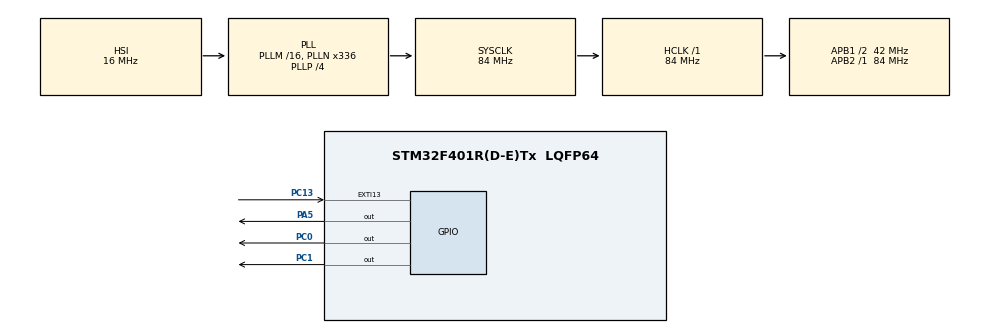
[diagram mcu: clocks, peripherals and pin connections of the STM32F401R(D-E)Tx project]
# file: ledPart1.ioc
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Mcu.Family=STM32F4
Mcu.Name=STM32F401R(D-E)Tx
Mcu.Package=LQFP64
NVIC.EXTI15_10_IRQn=true\:5\:0\:true\:false\:true\:true\:true
NVIC.PriorityGroup=NVIC_PRIORITYGROUP_4
NVIC.TIM5_IRQn=true\:15\:0\:false\:false\:true\:false\:true
NVIC.TimeBase=TIM5_IRQn
NVIC.TimeBaseIP=TIM5
PA13.GPIO_Label=TMS
PA13.Signal=SYS_JTMS-SWDIO
PA14.GPIO_Label=TCK
PA14.Signal=SYS_JTCK-SWCLK
PA2.GPIO_Label=USART_TX
PA2.GPIO_Mode=GPIO_MODE_AF_PP
PA2.GPIO_PuPd=GPIO_NOPULL
PA2.GPIO_Speed=GPIO_SPEED_FREQ_LOW
PA2.Signal=USART2_TX
PA3.GPIO_Label=USART_RX
PA3.GPIO_Mode=GPIO_MODE_AF_PP
PA3.GPIO_PuPd=GPIO_NOPULL
PA3.GPIO_Speed=GPIO_SPEED_FREQ_LOW
PA3.Signal=USART2_RX
PA5.Signal=GPIO_Output
PB3.GPIO_Label=SWO
PB3.Signal=SYS_JTDO-SWO
PC0.Signal=GPIO_Output
PC1.Signal=GPIO_Output
PC13-ANTI_TAMP.Signal=GPXTI13
PC14-OSC32_IN.Signal=RCC_OSC32_IN
PC15-OSC32_OUT.Signal=RCC_OSC32_OUT
PH0\ -\ OSC_IN.Signal=RCC_OSC_IN
PH1\ -\ OSC_OUT.Signal=RCC_OSC_OUT
ProjectManager.HeapSize=0x200
ProjectManager.StackSize=0x400
ProjectManager.TargetToolchain=STM32CubeIDE
RCC.AHBFreq_Value=84000000
RCC.APB1CLKDivider=RCC_HCLK_DIV2
RCC.APB1Freq_Value=42000000
RCC.APB1TimFreq_Value=84000000
RCC.APB2Freq_Value=84000000
RCC.APB2TimFreq_Value=84000000
RCC.CortexFreq_Value=84000000
RCC.HCLKFreq_Value=84000000
RCC.HSE_VALUE=8000000
RCC.HSI_VALUE=16000000
RCC.LSE_VALUE=32768
RCC.PLLN=336
RCC.PLLP=RCC_PLLP_DIV4
RCC.PLLQ=7
RCC.SYSCLKFreq_VALUE=84000000
RCC.SYSCLKSource=RCC_SYSCLKSOURCE_PLLCLK
RCC.VCOOutputFreq_Value=336000000
VP_SYS_VS_tim5.Mode=TIM5
board=NUCLEO-F401RE

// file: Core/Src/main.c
/* USER CODE BEGIN Header */
/**
 ******************************************************************************
 * @file           : main.c
 * @brief          : Main program body
 ******************************************************************************
 * @attention
 *
 * <h2><center>&copy; Copyright (c) 2021 STMicroelectronics.
 * All rights reserved.</center></h2>
 *
 * This software component is licensed by ST under BSD 3-Clause license,
 * the "License"; You may not use this file except in compliance with the
 * License. You may obtain a copy of the License at:
 *                        opensource.org/licenses/BSD-3-Clause
 *
 ******************************************************************************
 */
/* USER CODE END Header */
#include "main.h"

/* USER CODE BEGIN Includes */
#include <stdio.h>
#include "FreeRTOS.h"
#include "task.h"
/* USER CODE END Includes */

/* USER CODE BEGIN PM */
#define DWT_CTRL 			(*(volatile uint32_t*) 0xE0001000)
/* USER CODE END PM */

/* USER CODE BEGIN PV */
TaskHandle_t redTask_Handle;
TaskHandle_t yellowTask_Handle;
TaskHandle_t greenTask_Handle;
TaskHandle_t nextTask_Handle;
/* USER CODE END PV */

void SystemClock_Config(void);
static void MX_GPIO_Init(void);
/* USER CODE BEGIN PFP */
static void redTask_Handler(void *para);
static void yellowTask_Handler(void *para);
static void greenTask_Handler(void *para);
void button_interrupt_handler(void);
/* USER CODE END PFP */

int main(void)
{
  /* USER CODE BEGIN 1 */
	/*TaskHandle_t redTask_Handle;
	 TaskHandle_t yellowTask_Handle;
	 TaskHandle_t greenTask_Handle;
	 TaskHandle_t butTask_Handle;*/
	BaseType_t stat;
	DWT_CTRL |= (0 << 1);
  /* USER CODE END 1 */

  /* MCU Configuration--------------------------------------------------------*/

  /* Reset of all peripherals, Initializes the Flash interface and the Systick. */
  HAL_Init();

  /* Configure the system clock */
  SystemClock_Config();

  /* Initialize all configured peripherals */
  MX_GPIO_Init();
  /* USER CODE BEGIN 2 */
	SEGGER_SYSVIEW_Conf();
	SEGGER_SYSVIEW_Start();
	stat = xTaskCreate(redTask_Handler, "redTask", 200, NULL, 3,
			&redTask_Handle);
	configASSERT(stat == pdPASS);
	nextTask_Handle = redTask_Handle;
	stat = xTaskCreate(yellowTask_Handler, "yellowTask", 200, NULL, 2,
			&yellowTask_Handle);
	configASSERT(stat == pdPASS);
	stat = xTaskCreate(greenTask_Handler, "greenTask", 200, NULL, 1,
			&greenTask_Handle);
	configASSERT(stat == pdPASS);
	/*stat = xTaskCreate(butTask_Handler, "buttonTask", 200, NULL, 2,
	 &butTask_Handle);
	 configASSERT(stat == pdPASS);*/
	vTaskStartScheduler();
  /* USER CODE END 2 */

  /* Infinite loop */
	while (1) {

	}
}

void SystemClock_Config(void)
{
  RCC_OscInitTypeDef RCC_OscInitStruct = {0};
  RCC_ClkInitTypeDef RCC_ClkInitStruct = {0};

  /** Configure the main internal regulator output voltage
  */
  __HAL_RCC_PWR_CLK_ENABLE();
  __HAL_PWR_VOLTAGESCALING_CONFIG(PWR_REGULATOR_VOLTAGE_SCALE2);
  /** Initializes the RCC Oscillators according to the specified parameters
  * in the RCC_OscInitTypeDef structure.
  */
  RCC_OscInitStruct.OscillatorType = RCC_OSCILLATORTYPE_HSI;
  RCC_OscInitStruct.HSIState = RCC_HSI_ON;
  RCC_OscInitStruct.HSICalibrationValue = RCC_HSICALIBRATION_DEFAULT;
  RCC_OscInitStruct.PLL.PLLState = RCC_PLL_ON;
  RCC_OscInitStruct.PLL.PLLSource = RCC_PLLSOURCE_HSI;
  RCC_OscInitStruct.PLL.PLLM = 16;
  RCC_OscInitStruct.PLL.PLLN = 336;
  RCC_OscInitStruct.PLL.PLLP = RCC_PLLP_DIV4;
  RCC_OscInitStruct.PLL.PLLQ = 7;
  if (HAL_RCC_OscConfig(&RCC_OscInitStruct) != HAL_OK)
  {
    Error_Handler();
  }
  /** Initializes the CPU, AHB and APB buses clocks
  */
  RCC_ClkInitStruct.ClockType = RCC_CLOCKTYPE_HCLK|RCC_CLOCKTYPE_SYSCLK
                              |RCC_CLOCKTYPE_PCLK1|RCC_CLOCKTYPE_PCLK2;
  RCC_ClkInitStruct.SYSCLKSource = RCC_SYSCLKSOURCE_PLLCLK;
  RCC_ClkInitStruct.AHBCLKDivider = RCC_SYSCLK_DIV1;
  RCC_ClkInitStruct.APB1CLKDivider = RCC_HCLK_DIV2;
  RCC_ClkInitStruct.APB2CLKDivider = RCC_HCLK_DIV1;

  if (HAL_RCC_ClockConfig(&RCC_ClkInitStruct, FLASH_LATENCY_2) != HAL_OK)
  {
    Error_Handler();
  }
}

static void MX_GPIO_Init(void)
{
  GPIO_InitTypeDef GPIO_InitStruct = {0};

  /* GPIO Ports Clock Enable */
  __HAL_RCC_GPIOC_CLK_ENABLE();
  __HAL_RCC_GPIOH_CLK_ENABLE();
  __HAL_RCC_GPIOA_CLK_ENABLE();
  __HAL_RCC_GPIOB_CLK_ENABLE();

  /*Configure GPIO pin Output Level */
  HAL_GPIO_WritePin(GPIOC, GPIO_PIN_0|GPIO_PIN_1, GPIO_PIN_RESET);

  /*Configure GPIO pin Output Level */
  HAL_GPIO_WritePin(GPIOA, GPIO_PIN_5, GPIO_PIN_RESET);

  /*Configure GPIO pin : PC13 */
  GPIO_InitStruct.Pin = GPIO_PIN_13;
  GPIO_InitStruct.Mode = GPIO_MODE_IT_RISING;
  GPIO_InitStruct.Pull = GPIO_NOPULL;
  HAL_GPIO_Init(GPIOC, &GPIO_InitStruct);

  /*Configure GPIO pins : PC0 PC1 */
  GPIO_InitStruct.Pin = GPIO_PIN_0|GPIO_PIN_1;
  GPIO_InitStruct.Mode = GPIO_MODE_OUTPUT_PP;
  GPIO_InitStruct.Pull = GPIO_NOPULL;
  GPIO_InitStruct.Speed = GPIO_SPEED_FREQ_LOW;
  HAL_GPIO_Init(GPIOC, &GPIO_InitStruct);

  /*Configure GPIO pins : USART_TX_Pin USART_RX_Pin */
  GPIO_InitStruct.Pin = USART_TX_Pin|USART_RX_Pin;
  GPIO_InitStruct.Mode = GPIO_MODE_AF_PP;
  GPIO_InitStruct.Pull = GPIO_NOPULL;
  GPIO_InitStruct.Speed = GPIO_SPEED_FREQ_LOW;
  GPIO_InitStruct.Alternate = GPIO_AF7_USART2;
  HAL_GPIO_Init(GPIOA, &GPIO_InitStruct);

  /*Configure GPIO pin : PA5 */
  GPIO_InitStruct.Pin = GPIO_PIN_5;
  GPIO_InitStruct.Mode = GPIO_MODE_OUTPUT_PP;
  GPIO_InitStruct.Pull = GPIO_NOPULL;
  GPIO_InitStruct.Speed = GPIO_SPEED_FREQ_LOW;
  HAL_GPIO_Init(GPIOA, &GPIO_InitStruct);

  /* EXTI interrupt init*/
  HAL_NVIC_SetPriority(EXTI15_10_IRQn, 5, 0);
  HAL_NVIC_EnableIRQ(EXTI15_10_IRQn);

}

/* USER CODE BEGIN 4 */

void button_interrupt_handler(void) {
	BaseType_t pxHigherPriorityTaskWoken;
	pxHigherPriorityTaskWoken = pdFALSE;
	traceISR_ENTER();
	xTaskNotifyFromISR(nextTask_Handle, 0, eNoAction,
			&pxHigherPriorityTaskWoken);
	portYIELD_FROM_ISR(pxHigherPriorityTaskWoken); traceISR_EXIT();
}

static void redTask_Handler(void *para) {
	BaseType_t stat;
	while (1) {
		printf("Led red is toggled");
		HAL_GPIO_TogglePin(GPIOC, GPIO_PIN_0);
		stat = xTaskNotifyWait(0, 0, NULL, pdMS_TO_TICKS(1000));
		if (stat == pdTRUE) {
			portENTER_CRITICAL();
			nextTask_Handle = yellowTask_Handle;
			HAL_GPIO_WritePin(GPIOC, GPIO_PIN_0, GPIO_PIN_RESET);
			portEXIT_CRITICAL();
			vTaskDelete(NULL);
		}

	}
}

static void yellowTask_Handler(void *para) {
	BaseType_t stat;
	while (1) {
		printf("Led yellow is toggled");
		HAL_GPIO_TogglePin(GPIOC, GPIO_PIN_1);
		stat = xTaskNotifyWait(0, 0, NULL, pdMS_TO_TICKS(800));
		if (stat == pdTRUE) {
			portENTER_CRITICAL();
			nextTask_Handle = greenTask_Handle;
			HAL_GPIO_WritePin(GPIOC, GPIO_PIN_1, GPIO_PIN_RESET);
			portEXIT_CRITICAL();
			vTaskDelete(NULL);
		}

	}
}
static void greenTask_Handler(void *para) {
	BaseType_t stat;
	while (1) {
		printf("Led red is toggled");
		HAL_GPIO_TogglePin(GPIOA, GPIO_PIN_5);
		stat = xTaskNotifyWait(0, 0, NULL, pdMS_TO_TICKS(1000));
		if (stat == pdTRUE) {
			portENTER_CRITICAL();
			nextTask_Handle = NULL;
			HAL_GPIO_WritePin(GPIOA, GPIO_PIN_5, GPIO_PIN_RESET);
			portEXIT_CRITICAL();
			vTaskDelete(NULL);
		}

	}
}

/* USER CODE END 4 */

void HAL_TIM_PeriodElapsedCallback(TIM_HandleTypeDef *htim)
{
  if (htim->Instance == TIM5) {
    HAL_IncTick();
  }
}

void Error_Handler(void)
{
	__disable_irq();
	while (1) {
	}
}

/************************ (C) COPYRIGHT STMicroelectronics *****END OF FILE****/
